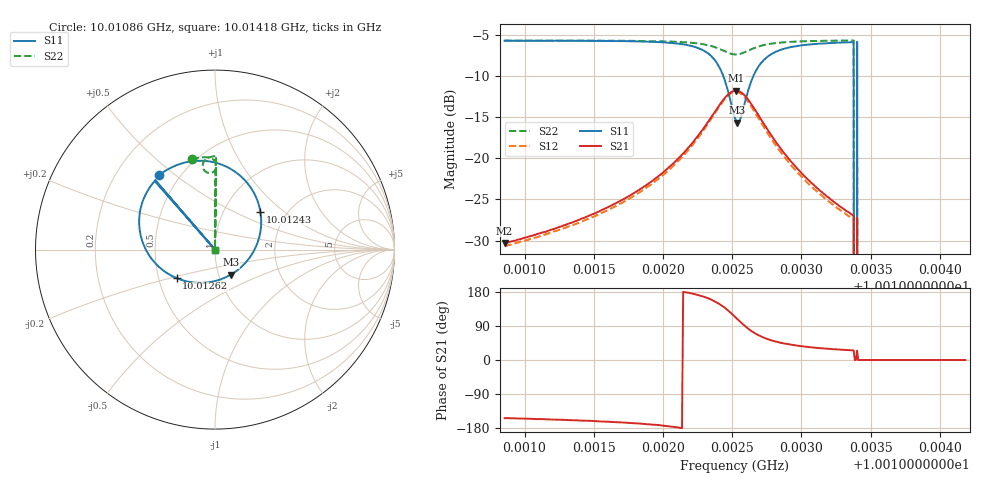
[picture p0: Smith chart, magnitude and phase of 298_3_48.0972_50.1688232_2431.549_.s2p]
#  HZ  S  RI  R  50.00
! Rohde & Schwarz Vector Network Analyzer
! Rohde-Schwarz,ZNB20-2Port,1311601062101988,3.16
! Created: UTC 12/23/2023, 4:04:29 AM
! freq[Hz]  re:S11  im:S11  re:S21  im:S21  re:S12  im:S12  re:S22  im:S22
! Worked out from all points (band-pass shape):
!   401 points, 10.01086 GHz to 10.01418 GHz, reference 50 ohm
!   highest |S21| = -11.76 dB at 10.01253 GHz (marker M1); lowest = -30.3 dB at 10.01086 GHz (marker M2)
!   |S21| within 3 dB of the highest: 10.01236 GHz to 10.01269 GHz (332.2 kHz wide, 0.00332 % of centre)
!   lowest |S11| = -15.6 dB at 10.01254 GHz (marker M3), VSWR 1.40, Z = 57.3 - j16.4 ohm
!   |S11| at or under -10 dB: 10.01244 GHz to 10.01265 GHz (216.9 kHz wide, 0.00217 % of centre); 10.01338 GHz to 10.0134 GHz (24.61 kHz wide, 0.000246 % of centre); 10.0134 GHz to end of sweep
!   |S22| runs from - to -5.7 dB; largest |S21 - S12| = 0.013
!   S11 on the Smith chart (normalised r, x): 10.01086 GHz: 0.39, +0.44; 10.01243 GHz: 1.49, +0.69; 10.01262 GHz: 0.62, -0.21; 10.01418 GHz: 1.00, +0.00
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1.0010856e10  -0.3127 0.4143  -0.0273 -0.0136  -0.0253 -0.0146  -0.1281 0.5041
1.0011413e10  -0.2544 0.4519  -0.0404 -0.0147  -0.0379 -0.0163  -0.0893 0.512
1.0011971e10  -0.1294 0.4925  -0.0776 -0.0111  -0.074 -0.0149  -0.0418 0.5136
1.0012279e10  0.0842 0.4513  -0.1438 0.0289  -0.1413 0.0192  -0.00274 0.496
1.0012362e10  0.1871 0.3621  -0.1702 0.0722  -0.1706 0.0614  0.00767 0.4781
1.0012428e10  0.2533 0.2081  -0.1772 0.1351  -0.1806 0.1246  0.00778 0.4551
1.0012478e10  0.237 0.0381  -0.1528 0.1954  -0.1589 0.1862  -0.00455 0.4361
1.001252e10  0.1456 -0.0977  -0.1043 0.236  -0.1103 0.2287  -0.0241 0.4274
1.0012528e10  0.1191 -0.1193  -0.0925 0.2411  -0.0995 0.2335  -0.028 0.4271
1.0012537e10  0.0892 -0.1389  -0.0796 0.2452  -0.0859 0.238  -0.033 0.4272
1.001262e10  -0.2137 -0.1592  0.034 0.2223  0.0271 0.2155  -0.065 0.4495
1.0012686e10  -0.3544 -0.0496  0.0747 0.169  0.0672 0.164  -0.0684 0.4728
1.0012761e10  -0.4125 0.0728  0.0856 0.1191  0.0778 0.1163  -0.0613 0.4912
1.0013077e10  -0.3854 0.3094  0.0587 0.0386  0.054 0.0391  -0.0235 0.5164
1.001336e10  -0.3387 0.3795  0.0413 0.0196  0.0382 0.0207  0.00246 0.5207
1.0013377e10  -0.3362 0.3821  0.0405 0.019  0.0377 0.0199  0.00377 0.5209
1.0013385e10  0 0  0 0  0 0  0 0
1.0013402e10  -0.3328 0.3861  0.0394 0.0182  0.0367 0.0192  0.00586 0.5211
1.0013419e10  0 0  0 0  0 0  0 0
1.0013427e10  0 0  0 0  0 0  0 0
1.0013635e10  0 0  0 0  0 0  0 0
1.0014184e10  0 0  0 0  0 0  0 0
